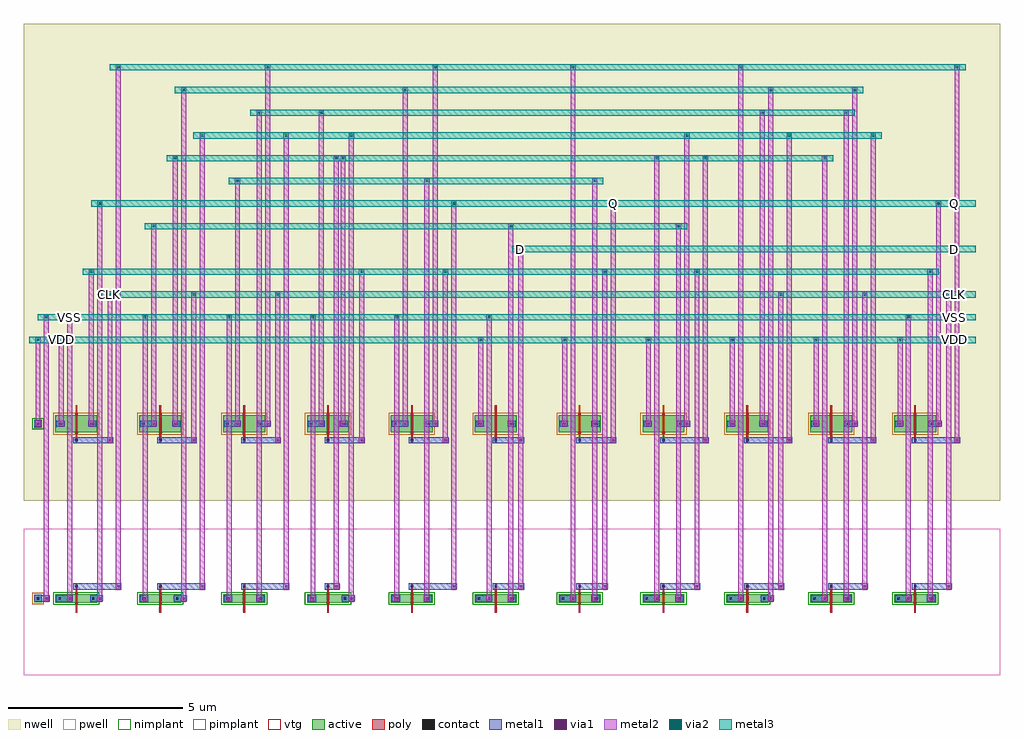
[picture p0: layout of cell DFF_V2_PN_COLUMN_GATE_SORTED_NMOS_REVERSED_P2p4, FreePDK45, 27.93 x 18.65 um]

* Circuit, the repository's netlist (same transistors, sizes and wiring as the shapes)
* cell DFF_V2_PN_COLUMN_GATE_SORTED_NMOS_REVERSED_P2p4
* pin Q
* pin CLK
* pin D
* pin VDD
* pin VSS
.SUBCKT DFF_V2_PN_COLUMN_GATE_SORTED_NMOS_REVERSED_P2p4 1 6 10 12 13
* net 1 Q
* net 6 CLK
* net 10 D
* net 12 VDD
* net 13 VSS
* device instance $1 r0 *1 25.2,7 PMOS_VTG
M$1 1 5 12 12 PMOS_VTG L=0.05U W=0.5U AS=0.2875P AD=0.2875P PS=2.15U PD=2.15U
* device instance $2 r0 *1 20.4,7 PMOS_VTG
M$2 3 8 12 12 PMOS_VTG L=0.05U W=0.5U AS=0.2875P AD=0.2875P PS=2.15U PD=2.15U
* device instance $3 r0 *1 22.8,7 PMOS_VTG
M$3 2 8 12 12 PMOS_VTG L=0.05U W=0.5U AS=0.2875P AD=0.2875P PS=2.15U PD=2.15U
* device instance $4 r0 *1 18,7 PMOS_VTG
M$4 8 11 12 12 PMOS_VTG L=0.05U W=0.5U AS=0.2875P AD=0.2875P PS=2.15U PD=2.15U
* device instance $5 r0 *1 1.2,7 PMOS_VTG
M$5 7 6 12 12 PMOS_VTG L=0.05U W=0.5U AS=0.2875P AD=0.2875P PS=2.15U PD=2.15U
* device instance $6 r0 *1 8.4,7 PMOS_VTG
M$6 11 7 3 12 PMOS_VTG L=0.05U W=0.5U AS=0.2875P AD=0.2875P PS=2.15U PD=2.15U
* device instance $7 r0 *1 3.6,7 PMOS_VTG
M$7 11 6 4 12 PMOS_VTG L=0.05U W=0.5U AS=0.2875P AD=0.2875P PS=2.15U PD=2.15U
* device instance $8 r0 *1 6,7 PMOS_VTG
M$8 5 6 9 12 PMOS_VTG L=0.05U W=0.5U AS=0.2875P AD=0.2875P PS=2.15U PD=2.15U
* device instance $9 r0 *1 13.2,7 PMOS_VTG
M$9 4 10 12 12 PMOS_VTG L=0.05U W=0.5U AS=0.2875P AD=0.2875P PS=2.15U PD=2.15U
* device instance $10 r0 *1 10.8,7 PMOS_VTG
M$10 5 7 2 12 PMOS_VTG L=0.05U W=0.5U AS=0.2875P AD=0.2875P PS=2.15U PD=2.15U
* device instance $11 r0 *1 15.6,7 PMOS_VTG
M$11 9 1 12 12 PMOS_VTG L=0.05U W=0.5U AS=0.2875P AD=0.2875P PS=2.15U PD=2.15U
* device instance $12 r0 *1 25.2,2 NMOS_VTG
M$12 7 6 13 13 NMOS_VTG L=0.05U W=0.25U AS=0.14375P AD=0.14375P PS=1.65U
+ PD=1.65U
* device instance $13 r0 *1 22.8,2 NMOS_VTG
M$13 3 6 11 13 NMOS_VTG L=0.05U W=0.25U AS=0.14375P AD=0.14375P PS=1.65U
+ PD=1.65U
* device instance $14 r0 *1 18,2 NMOS_VTG
M$14 4 7 11 13 NMOS_VTG L=0.05U W=0.25U AS=0.14375P AD=0.14375P PS=1.65U
+ PD=1.65U
* device instance $15 r0 *1 15.6,2 NMOS_VTG
M$15 9 7 5 13 NMOS_VTG L=0.05U W=0.25U AS=0.14375P AD=0.14375P PS=1.65U PD=1.65U
* device instance $16 r0 *1 1.2,2 NMOS_VTG
M$16 1 5 13 13 NMOS_VTG L=0.05U W=0.25U AS=0.14375P AD=0.14375P PS=1.65U
+ PD=1.65U
* device instance $17 r0 *1 3.6,2 NMOS_VTG
M$17 2 8 13 13 NMOS_VTG L=0.05U W=0.25U AS=0.14375P AD=0.14375P PS=1.65U
+ PD=1.65U
* device instance $18 r0 *1 6,2 NMOS_VTG
M$18 3 8 13 13 NMOS_VTG L=0.05U W=0.25U AS=0.14375P AD=0.14375P PS=1.65U
+ PD=1.65U
* device instance $19 r0 *1 8.4,2 NMOS_VTG
M$19 8 11 13 13 NMOS_VTG L=0.05U W=0.25U AS=0.14375P AD=0.14375P PS=1.65U
+ PD=1.65U
* device instance $20 r0 *1 20.4,2 NMOS_VTG
M$20 2 6 5 13 NMOS_VTG L=0.05U W=0.25U AS=0.14375P AD=0.14375P PS=1.65U PD=1.65U
* device instance $21 r0 *1 13.2,2 NMOS_VTG
M$21 4 10 13 13 NMOS_VTG L=0.05U W=0.25U AS=0.14375P AD=0.14375P PS=1.65U
+ PD=1.65U
* device instance $22 r0 *1 10.8,2 NMOS_VTG
M$22 9 1 13 13 NMOS_VTG L=0.05U W=0.25U AS=0.14375P AD=0.14375P PS=1.65U
+ PD=1.65U
.ENDS DFF_V2_PN_COLUMN_GATE_SORTED_NMOS_REVERSED_P2p4

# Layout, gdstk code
import gdstk
lib = gdstk.Library(unit=1e-6, precision=5e-10)
def R(c, l, rs):  # rectangles x0, y0, x1, y1
    for r in rs: c.add(gdstk.rectangle(r[:2], r[2:], *l))
def A(c, l, x, y, w, h, nx, ny, dx, dy):  # array of equal rectangles
    R(c, l, [(x+i*dx, y+j*dy, x+i*dx+w, y+j*dy+h) for i in range(nx) for j in range(ny)])
active = (1, 0)
pwell = (2, 0)
nwell = (3, 0)
nimplant = (4, 0)
pimplant = (5, 0)
vtg = (6, 0)
poly = (9, 0)
contact = (10, 0)
metal1 = (11, 0)
via1 = (12, 0)
metal2 = (13, 0)
via2 = (14, 0)
metal3 = (15, 0)

dff_v2_pn_column_gate_so = lib.new_cell('DFF_V2_PN_COLUMN_GATE_SORTED_NMOS_REVERSED_P2p4')
A(dff_v2_pn_column_gate_so, active, 0.6, 1.875, 1.2, 0.25, 11, 1, 2.4, 0)
A(dff_v2_pn_column_gate_so, active, 0.6, 6.75, 1.2, 0.5, 11, 1, 2.4, 0)
R(dff_v2_pn_column_gate_so, active, [(-0.01,1.89,0.21,2.11), (-0.01,6.89,0.21,7.11)])
R(dff_v2_pn_column_gate_so, pwell, [(-0.3,-0.2,27.63,4)])
R(dff_v2_pn_column_gate_so, nwell, [(-0.3,4.8,27.63,18.45)])
A(dff_v2_pn_column_gate_so, nimplant, 0.54, 1.815, 1.32, 0.37, 11, 1, 2.4, 0)
R(dff_v2_pn_column_gate_so, nimplant, [(-0.06,6.84,0.26,7.16)])
A(dff_v2_pn_column_gate_so, pimplant, 0.54, 6.69, 1.32, 0.62, 11, 1, 2.4, 0)
R(dff_v2_pn_column_gate_so, pimplant, [(-0.06,1.84,0.26,2.16)])
A(dff_v2_pn_column_gate_so, vtg, 1.165, 1.845, 0.07, 0.31, 11, 1, 2.4, 0)
A(dff_v2_pn_column_gate_so, vtg, 1.165, 6.72, 0.07, 0.56, 11, 1, 2.4, 0)
A(dff_v2_pn_column_gate_so, poly, 1.175, 1.595, 0.05, 0.81, 11, 1, 2.4, 0)
A(dff_v2_pn_column_gate_so, poly, 1.175, 6.47, 0.05, 1.06, 11, 1, 2.4, 0)
A(dff_v2_pn_column_gate_so, contact, 1.17, 2.315, 0.065, 0.065, 11, 2, 2.4, 4.185)
R(dff_v2_pn_column_gate_so, contact, [(0.07,1.97,0.135,2.035), (0.69,1.97,0.755,2.035), (1.65,1.97,1.715,2.035), (3.09,1.97,3.155,2.035), (4.05,1.97,4.115,2.035), (5.49,1.97,5.555,2.035), (6.45,1.97,6.515,2.035), (7.89,1.97,7.955,2.035), (8.85,1.97,8.915,2.035), (10.29,1.97,10.355,2.035), (11.25,1.97,11.315,2.035), (12.69,1.97,12.755,2.035), (13.65,1.97,13.715,2.035), (15.09,1.97,15.155,2.035), (16.05,1.97,16.115,2.035), (17.49,1.97,17.555,2.035), (18.45,1.97,18.515,2.035), (19.89,1.97,19.955,2.035), (20.85,1.97,20.915,2.035), (22.29,1.97,22.355,2.035), (23.25,1.97,23.315,2.035), (24.69,1.97,24.755,2.035), (25.65,1.97,25.715,2.035), (0.07,6.97,0.135,7.035), (0.69,6.97,0.755,7.035), (1.65,6.97,1.715,7.035), (3.09,6.97,3.155,7.035), (4.05,6.97,4.115,7.035), (5.49,6.97,5.555,7.035), (6.45,6.97,6.515,7.035), (7.89,6.97,7.955,7.035), (8.85,6.97,8.915,7.035), (10.29,6.97,10.355,7.035), (11.25,6.97,11.315,7.035), (12.69,6.97,12.755,7.035), (13.65,6.97,13.715,7.035), (15.09,6.97,15.155,7.035), (16.05,6.97,16.115,7.035), (17.49,6.97,17.555,7.035), (18.45,6.97,18.515,7.035), (19.89,6.97,19.955,7.035), (20.85,6.97,20.915,7.035), (22.29,6.97,22.355,7.035), (23.25,6.97,23.315,7.035), (24.69,6.97,24.755,7.035), (25.65,6.97,25.715,7.035)])
A(dff_v2_pn_column_gate_so, metal1, 12.77, 1.91, 0.24, 0.18, 4, 1, 2.4, 0)
A(dff_v2_pn_column_gate_so, metal1, 1.11, 2.255, 0.18, 0.18, 7, 1, 1.2, 0)
A(dff_v2_pn_column_gate_so, metal1, 1.2, 2.255, 1.2, 0.18, 3, 1, 2.4, 0)
A(dff_v2_pn_column_gate_so, metal1, 10.71, 2.255, 0.18, 0.18, 3, 1, 1.2, 0)
A(dff_v2_pn_column_gate_so, metal1, 18, 2.255, 0.96, 0.18, 4, 1, 2.4, 0)
A(dff_v2_pn_column_gate_so, metal1, 1.2, 6.44, 0.96, 0.18, 5, 1, 2.4, 0)
A(dff_v2_pn_column_gate_so, metal1, 17.91, 6.44, 0.18, 0.18, 8, 1, 1.2, 0)
A(dff_v2_pn_column_gate_so, metal1, 18, 6.44, 1.2, 0.18, 4, 1, 2.4, 0)
R(dff_v2_pn_column_gate_so, metal1, [(0,1.9,0.2,2.1), (0.1,1.91,0.34,2.09), (0.1,1.91,0.34,2.09), (0.1,1.91,0.34,2.09), (0.1,1.91,0.34,2.09), (0.1,1.91,0.34,2.09), (0.1,1.91,0.34,2.09), (0.1,1.91,0.34,2.09), (0.1,1.91,0.34,2.09), (0.1,1.91,0.34,2.09), (0.1,1.91,0.34,2.09), (0.1,1.91,0.34,2.09), (0.1,1.91,0.34,2.09), (0.25,1.91,0.43,2.09), (0.25,1.91,0.43,2.09), (0.25,1.91,0.43,2.09), (0.25,1.91,0.43,2.09), (0.25,1.91,0.43,2.09), (0.25,1.91,0.43,2.09), (0.25,1.91,0.43,2.09), (0.25,1.91,0.43,2.09), (0.25,1.91,0.43,2.09), (0.25,1.91,0.43,2.09), (0.25,1.91,0.43,2.09), (0.25,1.91,0.43,2.09), (0.63,1.91,0.81,2.09), (0.77,1.91,1.01,2.09), (0.92,1.91,1.1,2.09), (1.59,1.91,1.77,2.09), (1.63,1.91,1.87,2.09), (1.78,1.91,1.96,2.09), (3.03,1.91,3.21,2.09), (3.08,1.91,3.26,2.09), (3.99,1.91,4.17,2.09), (4.03,1.91,4.27,2.09), (4.18,1.91,4.36,2.09), (5.43,1.91,5.61,2.09), (5.48,1.91,5.66,2.09), (6.34,1.91,6.52,2.09), (6.39,1.91,6.57,2.09), (7.83,1.91,8.01,2.09), (7.88,1.91,8.06,2.09), (8.79,1.91,8.97,2.09), (8.83,1.91,9.07,2.09), (8.98,1.91,9.16,2.09), (10.23,1.91,10.41,2.09), (10.28,1.91,10.46,2.09), (11.14,1.91,11.32,2.09), (11.19,1.91,11.37,2.09), (12.63,1.91,12.81,2.09), (12.92,1.91,13.1,2.09), (13.54,1.91,13.72,2.09), (13.59,1.91,13.77,2.09), (15.03,1.91,15.21,2.09), (15.32,1.91,15.5,2.09), (15.94,1.91,16.12,2.09), (15.99,1.91,16.17,2.09), (17.43,1.91,17.61,2.09), (17.72,1.91,17.9,2.09), (18.34,1.91,18.52,2.09), (18.39,1.91,18.57,2.09), (19.83,1.91,20.01,2.09), (20.12,1.91,20.3,2.09), (20.79,1.91,20.97,2.09), (20.83,1.91,21.07,2.09), (20.98,1.91,21.16,2.09), (22.23,1.91,22.41,2.09), (22.37,1.91,22.61,2.09), (22.52,1.91,22.7,2.09), (23.14,1.91,23.32,2.09), (23.19,1.91,23.37,2.09), (24.63,1.91,24.81,2.09), (24.77,1.91,25.01,2.09), (24.92,1.91,25.1,2.09), (25.54,1.91,25.72,2.09), (25.59,1.91,25.77,2.09), (8.4,2.255,8.64,2.435), (8.55,2.255,8.73,2.435), (10.8,2.255,12,2.435), (13.2,2.255,13.92,2.435), (13.83,2.255,14.01,2.435), (15.51,2.255,15.69,2.435), (15.6,2.255,16.32,2.435), (16.23,2.255,16.41,2.435), (17.91,2.255,18.09,2.435), (18.87,2.255,19.05,2.435), (20.31,2.255,20.49,2.435), (21.27,2.255,21.45,2.435), (22.71,2.255,22.89,2.435), (23.67,2.255,23.85,2.435), (25.11,2.255,25.29,2.435), (26.07,2.255,26.25,2.435), (1.11,6.44,1.29,6.62), (2.07,6.44,2.25,6.62), (3.51,6.44,3.69,6.62), (4.47,6.44,4.65,6.62), (5.91,6.44,6.09,6.62), (6.87,6.44,7.05,6.62), (8.31,6.44,8.49,6.62), (9.27,6.44,9.45,6.62), (10.71,6.44,10.89,6.62), (11.67,6.44,11.85,6.62), (13.11,6.44,13.29,6.62), (13.2,6.44,13.92,6.62), (13.83,6.44,14.01,6.62), (15.51,6.44,15.69,6.62), (15.6,6.44,16.56,6.62), (16.47,6.44,16.65,6.62), (0,6.9,0.2,7.1), (0.01,6.91,0.19,7.09), (0.01,6.91,0.19,7.09), (0.01,6.91,0.19,7.09), (0.01,6.91,0.19,7.09), (0.01,6.91,0.19,7.09), (0.01,6.91,0.19,7.09), (0.01,6.91,0.19,7.09), (0.01,6.91,0.19,7.09), (0.01,6.91,0.19,7.09), (0.01,6.91,0.19,7.09), (0.01,6.91,0.19,7.09), (0.01,6.91,0.19,7.09), (0.63,6.91,0.81,7.09), (0.68,6.91,0.86,7.09), (1.54,6.91,1.72,7.09), (1.59,6.91,1.77,7.09), (3.03,6.91,3.21,7.09), (3.17,6.91,3.41,7.09), (3.32,6.91,3.5,7.09), (3.94,6.91,4.12,7.09), (3.99,6.91,4.17,7.09), (5.43,6.91,5.61,7.09), (5.57,6.91,5.81,7.09), (5.72,6.91,5.9,7.09), (6.39,6.91,6.57,7.09), (6.43,6.91,6.67,7.09), (6.58,6.91,6.76,7.09), (7.83,6.91,8.01,7.09), (7.97,6.91,8.21,7.09), (8.12,6.91,8.3,7.09), (8.74,6.91,8.92,7.09), (8.79,6.91,8.97,7.09), (10.23,6.91,10.41,7.09), (10.37,6.91,10.61,7.09), (10.52,6.91,10.7,7.09), (11.19,6.91,11.37,7.09), (11.23,6.91,11.47,7.09), (11.38,6.91,11.56,7.09), (12.63,6.91,12.81,7.09), (12.68,6.91,12.86,7.09), (13.54,6.91,13.72,7.09), (13.59,6.91,13.77,7.09), (15.03,6.91,15.21,7.09), (15.08,6.91,15.26,7.09), (15.94,6.91,16.12,7.09), (15.99,6.91,16.17,7.09), (17.43,6.91,17.61,7.09), (17.48,6.91,17.66,7.09), (18.39,6.91,18.57,7.09), (18.43,6.91,18.67,7.09), (18.58,6.91,18.76,7.09), (19.83,6.91,20.01,7.09), (19.88,6.91,20.06,7.09), (20.74,6.91,20.92,7.09), (20.79,6.91,20.97,7.09), (22.23,6.91,22.41,7.09), (22.28,6.91,22.46,7.09), (23.19,6.91,23.37,7.09), (23.23,6.91,23.47,7.09), (23.38,6.91,23.56,7.09), (24.63,6.91,24.81,7.09), (24.68,6.91,24.86,7.09), (25.59,6.91,25.77,7.09), (25.63,6.91,25.87,7.09), (25.78,6.91,25.96,7.09)])
A(dff_v2_pn_column_gate_so, via1, 2.37, 2.315, 0.065, 0.065, 3, 1, 2.4, 0)
A(dff_v2_pn_column_gate_so, via1, 18.93, 2.315, 0.065, 0.065, 4, 1, 2.4, 0)
A(dff_v2_pn_column_gate_so, via1, 2.13, 6.5, 0.065, 0.065, 5, 1, 2.4, 0)
A(dff_v2_pn_column_gate_so, via1, 13.89, 6.5, 0.065, 0.065, 3, 1, 2.64, 0)
A(dff_v2_pn_column_gate_so, via1, 21.57, 6.5, 0.065, 0.065, 3, 1, 2.4, 0)
R(dff_v2_pn_column_gate_so, via1, [(0.31,1.97,0.375,2.035), (0.31,1.97,0.375,2.035), (0.31,1.97,0.375,2.035), (0.31,1.97,0.375,2.035), (0.31,1.97,0.375,2.035), (0.31,1.97,0.375,2.035), (0.31,1.97,0.375,2.035), (0.31,1.97,0.375,2.035), (0.31,1.97,0.375,2.035), (0.31,1.97,0.375,2.035), (0.31,1.97,0.375,2.035), (0.31,1.97,0.375,2.035), (0.98,1.97,1.045,2.035), (1.84,1.97,1.905,2.035), (3.14,1.97,3.205,2.035), (4.24,1.97,4.305,2.035), (5.54,1.97,5.605,2.035), (6.4,1.97,6.465,2.035), (7.94,1.97,8.005,2.035), (9.04,1.97,9.105,2.035), (10.34,1.97,10.405,2.035), (11.2,1.97,11.265,2.035), (12.98,1.97,13.045,2.035), (13.6,1.97,13.665,2.035), (15.38,1.97,15.445,2.035), (16,1.97,16.065,2.035), (17.78,1.97,17.845,2.035), (18.4,1.97,18.465,2.035), (20.18,1.97,20.245,2.035), (21.04,1.97,21.105,2.035), (22.58,1.97,22.645,2.035), (23.2,1.97,23.265,2.035), (24.98,1.97,25.045,2.035), (25.6,1.97,25.665,2.035), (8.61,2.315,8.675,2.38), (11.97,2.315,12.035,2.38), (13.89,2.315,13.955,2.38), (16.29,2.315,16.355,2.38), (0.07,6.97,0.135,7.035), (0.07,6.97,0.135,7.035), (0.07,6.97,0.135,7.035), (0.07,6.97,0.135,7.035), (0.07,6.97,0.135,7.035), (0.07,6.97,0.135,7.035), (0.07,6.97,0.135,7.035), (0.07,6.97,0.135,7.035), (0.07,6.97,0.135,7.035), (0.07,6.97,0.135,7.035), (0.07,6.97,0.135,7.035), (0.07,6.97,0.135,7.035), (0.74,6.97,0.805,7.035), (1.6,6.97,1.665,7.035), (3.38,6.97,3.445,7.035), (4,6.97,4.065,7.035), (5.78,6.97,5.845,7.035), (6.64,6.97,6.705,7.035), (8.18,6.97,8.245,7.035), (8.8,6.97,8.865,7.035), (10.58,6.97,10.645,7.035), (11.44,6.97,11.505,7.035), (12.74,6.97,12.805,7.035), (13.6,6.97,13.665,7.035), (15.14,6.97,15.205,7.035), (16,6.97,16.065,7.035), (17.54,6.97,17.605,7.035), (18.64,6.97,18.705,7.035), (19.94,6.97,20.005,7.035), (20.8,6.97,20.865,7.035), (22.34,6.97,22.405,7.035), (23.44,6.97,23.505,7.035), (24.74,6.97,24.805,7.035), (25.84,6.97,25.905,7.035)])
A(dff_v2_pn_column_gate_so, metal2, 3.1, 2, 0.14, 8.05, 4, 1, 2.4, 0)
A(dff_v2_pn_column_gate_so, metal2, 2.325, 2.27, 0.15, 0.15, 3, 1, 2.4, 0)
A(dff_v2_pn_column_gate_so, metal2, 18.885, 2.27, 0.15, 0.15, 4, 1, 2.4, 0)
A(dff_v2_pn_column_gate_so, metal2, 21.29, 2.345, 0.14, 8.355, 3, 1, 2.4, 0)
A(dff_v2_pn_column_gate_so, metal2, 2.085, 6.455, 0.15, 0.15, 5, 1, 2.4, 0)
A(dff_v2_pn_column_gate_so, metal2, 13.845, 6.455, 0.15, 0.15, 3, 1, 2.64, 0)
A(dff_v2_pn_column_gate_so, metal2, 21.525, 6.455, 0.15, 0.15, 3, 1, 2.4, 0)
A(dff_v2_pn_column_gate_so, metal2, 2.09, 6.53, 0.14, 4.17, 3, 1, 2.4, 0)
A(dff_v2_pn_column_gate_so, metal2, 12.7, 7, 0.14, 2.4, 6, 1, 2.4, 0)
A(dff_v2_pn_column_gate_so, metal2, 12.695, 9.325, 0.15, 0.15, 6, 1, 2.4, 0)
A(dff_v2_pn_column_gate_so, metal2, 3.095, 9.975, 0.15, 0.15, 4, 1, 2.4, 0)
A(dff_v2_pn_column_gate_so, metal2, 2.085, 10.625, 0.15, 0.15, 3, 1, 2.4, 0)
A(dff_v2_pn_column_gate_so, metal2, 21.285, 10.625, 0.15, 0.15, 3, 1, 2.4, 0)
R(dff_v2_pn_column_gate_so, metal2, [(0.265,1.925,0.415,2.075), (0.265,1.925,0.415,2.075), (0.265,1.925,0.415,2.075), (0.265,1.925,0.415,2.075), (0.265,1.925,0.415,2.075), (0.265,1.925,0.415,2.075), (0.265,1.925,0.415,2.075), (0.265,1.925,0.415,2.075), (0.265,1.925,0.415,2.075), (0.265,1.925,0.415,2.075), (0.265,1.925,0.415,2.075), (0.265,1.925,0.415,2.075), (0.935,1.925,1.085,2.075), (1.795,1.925,1.945,2.075), (3.095,1.925,3.245,2.075), (4.195,1.925,4.345,2.075), (5.495,1.925,5.645,2.075), (6.355,1.925,6.505,2.075), (7.895,1.925,8.045,2.075), (8.995,1.925,9.145,2.075), (10.295,1.925,10.445,2.075), (11.155,1.925,11.305,2.075), (12.935,1.925,13.085,2.075), (13.555,1.925,13.705,2.075), (15.335,1.925,15.485,2.075), (15.955,1.925,16.105,2.075), (17.735,1.925,17.885,2.075), (18.355,1.925,18.505,2.075), (20.135,1.925,20.285,2.075), (20.995,1.925,21.145,2.075), (22.535,1.925,22.685,2.075), (23.155,1.925,23.305,2.075), (24.935,1.925,25.085,2.075), (25.555,1.925,25.705,2.075), (0.27,2,0.41,10.05), (0.27,2,0.41,10.05), (0.27,2,0.41,10.05), (0.27,2,0.41,10.05), (0.27,2,0.41,10.05), (0.27,2,0.41,10.05), (0.27,2,0.41,10.05), (0.27,2,0.41,10.05), (0.27,2,0.41,10.05), (0.27,2,0.41,10.05), (0.27,2,0.41,10.05), (0.27,2,0.41,10.05), (0.94,2,1.08,10.05), (1.8,2,1.94,13.3), (4.2,2,4.34,16.55), (6.36,2,6.5,15.9), (9,2,9.14,15.25), (11.16,2,11.3,13.95), (12.94,2,13.08,10.05), (13.56,2,13.7,12.65), (15.34,2,15.48,17.2), (15.96,2,16.1,13.95), (17.74,2,17.88,14.6), (18.36,2,18.5,12.65), (20.14,2,20.28,17.2), (21,2,21.14,16.55), (22.54,2,22.68,14.6), (23.16,2,23.3,15.9), (24.94,2,25.08,10.05), (25.56,2,25.7,11.35), (8.565,2.27,8.715,2.42), (11.925,2.27,12.075,2.42), (13.845,2.27,13.995,2.42), (16.245,2.27,16.395,2.42), (2.33,2.345,2.47,17.2), (4.73,2.345,4.87,15.25), (7.13,2.345,7.27,15.25), (8.57,2.345,8.71,14.6), (11.93,2.345,12.07,13.3), (13.85,2.345,13.99,12), (16.25,2.345,16.39,11.35), (18.89,2.345,19.03,11.35), (9.29,6.53,9.43,11.35), (11.69,6.53,11.83,11.35), (13.85,6.53,13.99,12), (16.49,6.53,16.63,13.3), (19.13,6.53,19.27,14.6), (21.53,6.53,21.67,15.25), (23.93,6.53,24.07,15.25), (26.33,6.53,26.47,17.2), (0.025,6.925,0.175,7.075), (0.025,6.925,0.175,7.075), (0.025,6.925,0.175,7.075), (0.025,6.925,0.175,7.075), (0.025,6.925,0.175,7.075), (0.025,6.925,0.175,7.075), (0.025,6.925,0.175,7.075), (0.025,6.925,0.175,7.075), (0.025,6.925,0.175,7.075), (0.025,6.925,0.175,7.075), (0.025,6.925,0.175,7.075), (0.025,6.925,0.175,7.075), (0.695,6.925,0.845,7.075), (1.555,6.925,1.705,7.075), (3.335,6.925,3.485,7.075), (3.955,6.925,4.105,7.075), (5.735,6.925,5.885,7.075), (6.595,6.925,6.745,7.075), (8.135,6.925,8.285,7.075), (8.755,6.925,8.905,7.075), (10.535,6.925,10.685,7.075), (11.395,6.925,11.545,7.075), (12.695,6.925,12.845,7.075), (13.555,6.925,13.705,7.075), (15.095,6.925,15.245,7.075), (15.955,6.925,16.105,7.075), (17.495,6.925,17.645,7.075), (18.595,6.925,18.745,7.075), (19.895,6.925,20.045,7.075), (20.755,6.925,20.905,7.075), (22.295,6.925,22.445,7.075), (23.395,6.925,23.545,7.075), (24.695,6.925,24.845,7.075), (25.795,6.925,25.945,7.075), (0.03,7,0.17,9.4), (0.03,7,0.17,9.4), (0.03,7,0.17,9.4), (0.03,7,0.17,9.4), (0.03,7,0.17,9.4), (0.03,7,0.17,9.4), (0.03,7,0.17,9.4), (0.03,7,0.17,9.4), (0.03,7,0.17,9.4), (0.03,7,0.17,9.4), (0.03,7,0.17,9.4), (0.03,7,0.17,9.4), (0.7,7,0.84,9.4), (1.56,7,1.7,11.35), (3.34,7,3.48,12.65), (3.96,7,4.1,14.6), (5.74,7,5.88,13.95), (6.6,7,6.74,17.2), (8.14,7,8.28,15.9), (8.76,7,8.9,14.6), (10.54,7,10.68,16.55), (11.4,7,11.54,17.2), (13.56,7,13.7,12.65), (15.96,7,16.1,13.95), (18.6,7,18.74,15.25), (20.76,7,20.9,15.9), (23.4,7,23.54,16.55), (25.8,7,25.94,13.3), (0.025,9.325,0.175,9.475), (0.025,9.325,0.175,9.475), (0.025,9.325,0.175,9.475), (0.025,9.325,0.175,9.475), (0.025,9.325,0.175,9.475), (0.025,9.325,0.175,9.475), (0.025,9.325,0.175,9.475), (0.025,9.325,0.175,9.475), (0.025,9.325,0.175,9.475), (0.025,9.325,0.175,9.475), (0.025,9.325,0.175,9.475), (0.025,9.325,0.175,9.475), (0.695,9.325,0.845,9.475), (0.265,9.975,0.415,10.125), (0.265,9.975,0.415,10.125), (0.265,9.975,0.415,10.125), (0.265,9.975,0.415,10.125), (0.265,9.975,0.415,10.125), (0.265,9.975,0.415,10.125), (0.265,9.975,0.415,10.125), (0.265,9.975,0.415,10.125), (0.265,9.975,0.415,10.125), (0.265,9.975,0.415,10.125), (0.265,9.975,0.415,10.125), (0.265,9.975,0.415,10.125), (0.935,9.975,1.085,10.125), (12.935,9.975,13.085,10.125), (24.935,9.975,25.085,10.125), (1.555,11.275,1.705,11.425), (9.285,11.275,9.435,11.425), (11.685,11.275,11.835,11.425), (16.245,11.275,16.395,11.425), (18.885,11.275,19.035,11.425), (25.555,11.275,25.705,11.425), (13.845,11.925,13.995,12.075), (13.845,11.925,13.995,12.075), (3.335,12.575,3.485,12.725), (13.555,12.575,13.705,12.725), (13.555,12.575,13.705,12.725), (18.355,12.575,18.505,12.725), (1.795,13.225,1.945,13.375), (11.925,13.225,12.075,13.375), (16.485,13.225,16.635,13.375), (25.795,13.225,25.945,13.375), (5.735,13.875,5.885,14.025), (11.155,13.875,11.305,14.025), (15.955,13.875,16.105,14.025), (15.955,13.875,16.105,14.025), (3.955,14.525,4.105,14.675), (8.565,14.525,8.715,14.675), (8.755,14.525,8.905,14.675), (17.735,14.525,17.885,14.675), (19.125,14.525,19.275,14.675), (22.535,14.525,22.685,14.675), (4.725,15.175,4.875,15.325), (7.125,15.175,7.275,15.325), (8.995,15.175,9.145,15.325), (18.595,15.175,18.745,15.325), (21.525,15.175,21.675,15.325), (23.925,15.175,24.075,15.325), (6.355,15.825,6.505,15.975), (8.135,15.825,8.285,15.975), (20.755,15.825,20.905,15.975), (23.155,15.825,23.305,15.975), (4.195,16.475,4.345,16.625), (10.535,16.475,10.685,16.625), (20.995,16.475,21.145,16.625), (23.395,16.475,23.545,16.625), (2.325,17.125,2.475,17.275), (6.595,17.125,6.745,17.275), (11.395,17.125,11.545,17.275), (15.335,17.125,15.485,17.275), (20.135,17.125,20.285,17.275), (26.325,17.125,26.475,17.275)])
A(dff_v2_pn_column_gate_so, via2, 12.74, 9.37, 0.065, 0.065, 6, 1, 2.4, 0)
A(dff_v2_pn_column_gate_so, via2, 3.14, 10.02, 0.065, 0.065, 4, 1, 2.4, 0)
A(dff_v2_pn_column_gate_so, via2, 2.13, 10.67, 0.065, 0.065, 3, 1, 2.4, 0)
A(dff_v2_pn_column_gate_so, via2, 21.33, 10.67, 0.065, 0.065, 3, 1, 2.4, 0)
R(dff_v2_pn_column_gate_so, via2, [(0.07,9.37,0.135,9.435), (0.07,9.37,0.135,9.435), (0.07,9.37,0.135,9.435), (0.07,9.37,0.135,9.435), (0.07,9.37,0.135,9.435), (0.07,9.37,0.135,9.435), (0.07,9.37,0.135,9.435), (0.07,9.37,0.135,9.435), (0.07,9.37,0.135,9.435), (0.07,9.37,0.135,9.435), (0.07,9.37,0.135,9.435), (0.07,9.37,0.135,9.435), (0.74,9.37,0.805,9.435), (0.31,10.02,0.375,10.085), (0.31,10.02,0.375,10.085), (0.31,10.02,0.375,10.085), (0.31,10.02,0.375,10.085), (0.31,10.02,0.375,10.085), (0.31,10.02,0.375,10.085), (0.31,10.02,0.375,10.085), (0.31,10.02,0.375,10.085), (0.31,10.02,0.375,10.085), (0.31,10.02,0.375,10.085), (0.31,10.02,0.375,10.085), (0.31,10.02,0.375,10.085), (0.98,10.02,1.045,10.085), (12.98,10.02,13.045,10.085), (24.98,10.02,25.045,10.085), (1.6,11.32,1.665,11.385), (9.33,11.32,9.395,11.385), (11.73,11.32,11.795,11.385), (16.29,11.32,16.355,11.385), (18.93,11.32,18.995,11.385), (25.6,11.32,25.665,11.385), (13.89,11.97,13.955,12.035), (13.89,11.97,13.955,12.035), (3.38,12.62,3.445,12.685), (13.6,12.62,13.665,12.685), (13.6,12.62,13.665,12.685), (18.4,12.62,18.465,12.685), (1.84,13.27,1.905,13.335), (11.97,13.27,12.035,13.335), (16.53,13.27,16.595,13.335), (25.84,13.27,25.905,13.335), (5.78,13.92,5.845,13.985), (11.2,13.92,11.265,13.985), (16,13.92,16.065,13.985), (16,13.92,16.065,13.985), (4,14.57,4.065,14.635), (8.61,14.57,8.675,14.635), (8.8,14.57,8.865,14.635), (17.78,14.57,17.845,14.635), (19.17,14.57,19.235,14.635), (22.58,14.57,22.645,14.635), (4.77,15.22,4.835,15.285), (7.17,15.22,7.235,15.285), (9.04,15.22,9.105,15.285), (18.64,15.22,18.705,15.285), (21.57,15.22,21.635,15.285), (23.97,15.22,24.035,15.285), (6.4,15.87,6.465,15.935), (8.18,15.87,8.245,15.935), (20.8,15.87,20.865,15.935), (23.2,15.87,23.265,15.935), (4.24,16.52,4.305,16.585), (10.58,16.52,10.645,16.585), (21.04,16.52,21.105,16.585), (23.44,16.52,23.505,16.585), (2.37,17.17,2.435,17.235), (6.64,17.17,6.705,17.235), (11.44,17.17,11.505,17.235), (15.38,17.17,15.445,17.235), (20.18,17.17,20.245,17.235), (26.37,17.17,26.435,17.235)])
A(dff_v2_pn_column_gate_so, metal3, 12.695, 9.325, 0.15, 0.15, 6, 1, 2.4, 0)
A(dff_v2_pn_column_gate_so, metal3, 3.095, 9.975, 0.15, 0.15, 4, 1, 2.4, 0)
A(dff_v2_pn_column_gate_so, metal3, 2.085, 10.625, 0.15, 0.15, 3, 1, 2.4, 0)
A(dff_v2_pn_column_gate_so, metal3, 21.285, 10.625, 0.15, 0.15, 3, 1, 2.4, 0)
R(dff_v2_pn_column_gate_so, metal3, [(-0.15,9.31,25.02,9.49), (25.02,9.31,26.93,9.49), (0.025,9.325,0.175,9.475), (0.025,9.325,0.175,9.475), (0.025,9.325,0.175,9.475), (0.025,9.325,0.175,9.475), (0.025,9.325,0.175,9.475), (0.025,9.325,0.175,9.475), (0.025,9.325,0.175,9.475), (0.025,9.325,0.175,9.475), (0.025,9.325,0.175,9.475), (0.025,9.325,0.175,9.475), (0.025,9.325,0.175,9.475), (0.025,9.325,0.175,9.475), (0.695,9.325,0.845,9.475), (0.09,9.96,25.26,10.14), (25.26,9.96,26.93,10.14), (0.265,9.975,0.415,10.125), (0.265,9.975,0.415,10.125), (0.265,9.975,0.415,10.125), (0.265,9.975,0.415,10.125), (0.265,9.975,0.415,10.125), (0.265,9.975,0.415,10.125), (0.265,9.975,0.415,10.125), (0.265,9.975,0.415,10.125), (0.265,9.975,0.415,10.125), (0.265,9.975,0.415,10.125), (0.265,9.975,0.415,10.125), (0.265,9.975,0.415,10.125), (0.935,9.975,1.085,10.125), (12.935,9.975,13.085,10.125), (24.935,9.975,25.085,10.125), (1.91,10.61,26.41,10.79), (26.41,10.61,26.93,10.79), (1.38,11.26,25.88,11.44), (1.555,11.275,1.705,11.425), (9.285,11.275,9.435,11.425), (11.685,11.275,11.835,11.425), (16.245,11.275,16.395,11.425), (18.885,11.275,19.035,11.425), (25.555,11.275,25.705,11.425), (13.67,11.91,14.17,12.09), (14.17,11.91,26.93,12.09), (13.845,11.925,13.995,12.075), (13.845,11.925,13.995,12.075), (3.16,12.56,18.68,12.74), (3.335,12.575,3.485,12.725), (13.555,12.575,13.705,12.725), (13.555,12.575,13.705,12.725), (18.355,12.575,18.505,12.725), (1.62,13.21,26.12,13.39), (26.12,13.21,26.93,13.39), (1.795,13.225,1.945,13.375), (11.925,13.225,12.075,13.375), (16.485,13.225,16.635,13.375), (25.795,13.225,25.945,13.375), (5.56,13.86,16.28,14.04), (5.735,13.875,5.885,14.025), (11.155,13.875,11.305,14.025), (15.955,13.875,16.105,14.025), (15.955,13.875,16.105,14.025), (3.78,14.51,22.86,14.69), (3.955,14.525,4.105,14.675), (8.565,14.525,8.715,14.675), (8.755,14.525,8.905,14.675), (17.735,14.525,17.885,14.675), (19.125,14.525,19.275,14.675), (22.535,14.525,22.685,14.675), (4.55,15.16,24.25,15.34), (4.725,15.175,4.875,15.325), (7.125,15.175,7.275,15.325), (8.995,15.175,9.145,15.325), (18.595,15.175,18.745,15.325), (21.525,15.175,21.675,15.325), (23.925,15.175,24.075,15.325), (6.18,15.81,23.48,15.99), (6.355,15.825,6.505,15.975), (8.135,15.825,8.285,15.975), (20.755,15.825,20.905,15.975), (23.155,15.825,23.305,15.975), (4.02,16.46,23.72,16.64), (4.195,16.475,4.345,16.625), (10.535,16.475,10.685,16.625), (20.995,16.475,21.145,16.625), (23.395,16.475,23.545,16.625), (2.15,17.11,26.65,17.29), (2.325,17.125,2.475,17.275), (6.595,17.125,6.745,17.275), (11.395,17.125,11.545,17.275), (15.335,17.125,15.485,17.275), (20.135,17.125,20.285,17.275), (26.325,17.125,26.475,17.275)])
dff_v2_pn_column_gate_so.add(gdstk.Label('VDD', (26.33,9.4), layer=15, texttype=0))
dff_v2_pn_column_gate_so.add(gdstk.Label('VDD', (26.33,9.4), layer=15, texttype=1))
dff_v2_pn_column_gate_so.add(gdstk.Label('VDD', (26.33,9.4), layer=15, texttype=2))
dff_v2_pn_column_gate_so.add(gdstk.Label('VDD', (0.77,9.4), layer=13, texttype=0))
dff_v2_pn_column_gate_so.add(gdstk.Label('VDD', (0.77,9.4), layer=13, texttype=1))
dff_v2_pn_column_gate_so.add(gdstk.Label('VDD', (0.77,9.4), layer=13, texttype=2))
dff_v2_pn_column_gate_so.add(gdstk.Label('VSS', (26.33,10.05), layer=15, texttype=0))
dff_v2_pn_column_gate_so.add(gdstk.Label('VSS', (26.33,10.05), layer=15, texttype=1))
dff_v2_pn_column_gate_so.add(gdstk.Label('VSS', (26.33,10.05), layer=15, texttype=2))
dff_v2_pn_column_gate_so.add(gdstk.Label('VSS', (1.01,10.05), layer=13, texttype=0))
dff_v2_pn_column_gate_so.add(gdstk.Label('VSS', (1.01,10.05), layer=13, texttype=1))
dff_v2_pn_column_gate_so.add(gdstk.Label('VSS', (1.01,10.05), layer=13, texttype=2))
dff_v2_pn_column_gate_so.add(gdstk.Label('D', (26.33,12), layer=15, texttype=0))
dff_v2_pn_column_gate_so.add(gdstk.Label('D', (26.33,12), layer=15, texttype=1))
dff_v2_pn_column_gate_so.add(gdstk.Label('D', (26.33,12), layer=15, texttype=2))
dff_v2_pn_column_gate_so.add(gdstk.Label('D', (13.92,12), layer=13, texttype=0))
dff_v2_pn_column_gate_so.add(gdstk.Label('D', (13.92,12), layer=13, texttype=1))
dff_v2_pn_column_gate_so.add(gdstk.Label('D', (13.92,12), layer=13, texttype=2))
dff_v2_pn_column_gate_so.add(gdstk.Label('Q', (26.33,13.3), layer=15, texttype=0))
dff_v2_pn_column_gate_so.add(gdstk.Label('Q', (26.33,13.3), layer=15, texttype=1))
dff_v2_pn_column_gate_so.add(gdstk.Label('Q', (26.33,13.3), layer=15, texttype=2))
dff_v2_pn_column_gate_so.add(gdstk.Label('Q', (16.56,13.3), layer=13, texttype=0))
dff_v2_pn_column_gate_so.add(gdstk.Label('Q', (16.56,13.3), layer=13, texttype=1))
dff_v2_pn_column_gate_so.add(gdstk.Label('Q', (16.56,13.3), layer=13, texttype=2))
dff_v2_pn_column_gate_so.add(gdstk.Label('CLK', (26.33,10.7), layer=15, texttype=0))
dff_v2_pn_column_gate_so.add(gdstk.Label('CLK', (26.33,10.7), layer=15, texttype=1))
dff_v2_pn_column_gate_so.add(gdstk.Label('CLK', (26.33,10.7), layer=15, texttype=2))
dff_v2_pn_column_gate_so.add(gdstk.Label('CLK', (2.16,10.7), layer=13, texttype=0))
dff_v2_pn_column_gate_so.add(gdstk.Label('CLK', (2.16,10.7), layer=13, texttype=1))
dff_v2_pn_column_gate_so.add(gdstk.Label('CLK', (2.16,10.7), layer=13, texttype=2))

lib.write_gds('DFF_V2_PN_COLUMN_GATE_SORTED_NMOS_REVERSED_P2p4.gds')
